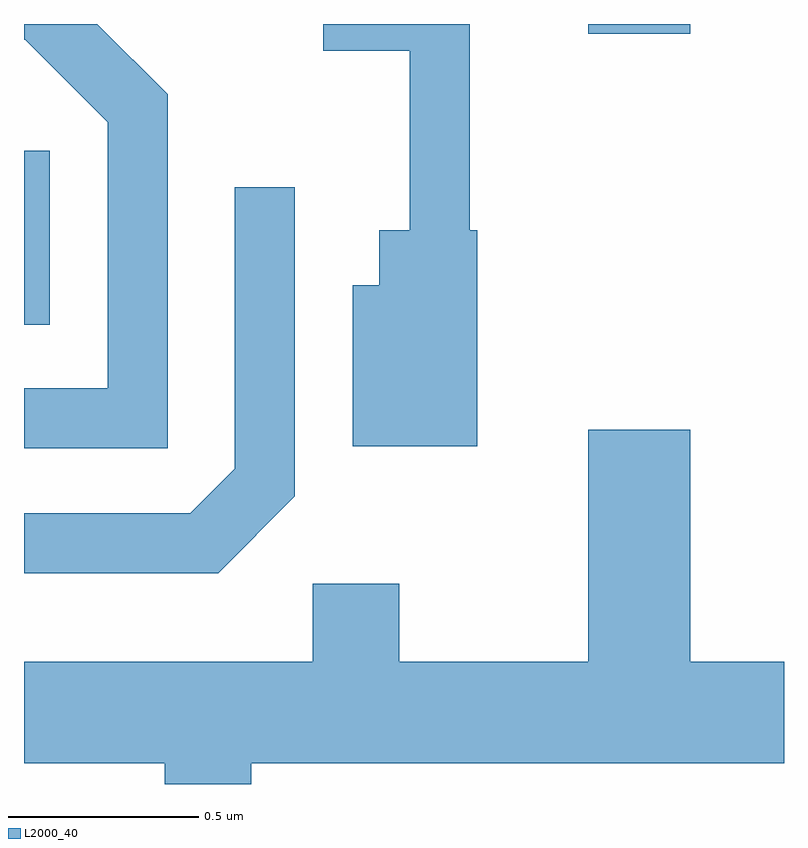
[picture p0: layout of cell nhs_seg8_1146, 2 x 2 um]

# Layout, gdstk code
import gdstk
lib = gdstk.Library(unit=1e-6, precision=1e-09)
def R(c, l, rs):  # rectangles x0, y0, x1, y1
    for r in rs: c.add(gdstk.rectangle(r[:2], r[2:], *l))
def P(c, l, *ps):  # polygons
    for p in ps: c.add(gdstk.Polygon(p, *l))
L2000_40 = (2000, 40)

nhs_seg8_1146 = lib.new_cell('nhs_seg8_1146')
R(nhs_seg8_1146, L2000_40, [(193.611,1857.551,193.679,1858.009), (195.096,1858.316,195.364,1858.342)])
P(nhs_seg8_1146, L2000_40, [(193.989,1858.157),(193.804,1858.342),(193.611,1858.342),(193.611,1858.301),(193.614,1858.301),(193.831,1858.084),(193.831,1857.384),(193.611,1857.384),(193.611,1857.226),(193.989,1857.226)],
  [(194.804,1857.799),(194.784,1857.799),(194.784,1858.342),(194.398,1858.342),(194.398,1858.271),(194.626,1858.271),(194.626,1857.799),(194.546,1857.799),(194.546,1857.654),(194.476,1857.654),(194.476,1857.231),(194.804,1857.231)],
  [(194.324,1857.099),(194.324,1857.913),(194.166,1857.913),(194.166,1857.172),(194.049,1857.054),(193.611,1857.054),(193.611,1856.896),(194.122,1856.896)],
  [(194.209,1856.396),(195.611,1856.396),(195.611,1856.664),(195.364,1856.664),(195.364,1857.274),(195.096,1857.274),(195.096,1856.664),(194.599,1856.664),(194.599,1856.869),(194.371,1856.869),(194.371,1856.664),(193.611,1856.664),(193.611,1856.396),(193.981,1856.396),(193.981,1856.342),(194.209,1856.342)])

lib.write_gds('nhs_seg8_1146.gds')
